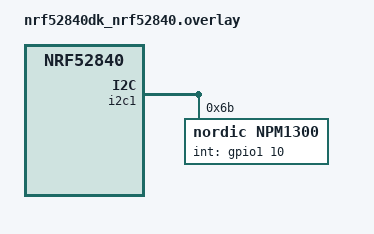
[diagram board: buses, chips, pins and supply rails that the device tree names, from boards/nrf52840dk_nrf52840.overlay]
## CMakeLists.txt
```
# SPDX-License-Identifier: Apache-2.0

cmake_minimum_required(VERSION 3.20.0)
find_package(Zephyr REQUIRED HINTS $ENV{ZEPHYR_BASE})
project(pmic_charger)

FILE(GLOB app_sources src/*.c)
target_include_directories(app PRIVATE include/)
target_sources(app PRIVATE ${app_sources})
```

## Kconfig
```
#Copyright (c) 2022 Nordic Semiconductor ASA
#SPDX-License-Identifier: Apache-2.0

mainmenu "PMIC example: Charger and events"

config BATTERY_VOLTAGE_THRESHOLD_1
	int "Battery voltage threshold 1 [mV]"
	range 0 4500
	default 3590
	help
	  Voltage threshold 1 to be detected.
	  Threshold 1 should have a higher value than threshold 2.

config BATTERY_VOLTAGE_THRESHOLD_2
	int "Battery voltage threshold 2 [mV]"
	range 0 4500
	default 3540
	help
	  Voltage threshold 2 to be detected.
	  Threshold 1 should have a higher value than threshold 2.

config CHARGING_CURRENT
	int "Charging current [mA]"
	range 32 800
	default 200

choice
	prompt "Termination voltage"
	default TERM_3600

	config TERM_3500
		bool "3.50 V"
	config TERM_3550
		bool "3.55 V"
	config TERM_3600
		bool "3.60 V"
	config TERM_3650
		bool "3.65 V"
	config TERM_4000
		bool "4.00 V"
	config TERM_4050
		bool "4.05 V"
	config TERM_4100
		bool "4.10 V"
	config TERM_4150
		bool "4.15 V"
	config TERM_4200
		bool "4.20 V"
	config TERM_4250
		bool "4.25 V"
	config TERM_4300
		bool "4.30 V"
	config TERM_4350
		bool "4.35 V"
	config TERM_4400
		bool "4.40 V"
	config TERM_4450
		bool "4.45 V"
endchoice

config TERMINATION_VOLTAGE
	int
	default 3500 if TERM_3500
	default 3550 if TERM_3550
	default 3600 if TERM_3600
	default 3650 if TERM_3650
	default 4000 if TERM_4000
	default 4050 if TERM_4050
	default 4100 if TERM_4100
	default 4150 if TERM_4150
	default 4200 if TERM_4200
	default 4250 if TERM_4250
	default 4300 if TERM_4300
	default 4350 if TERM_4350
	default 4400 if TERM_4400
	default 4450 if TERM_4450

source "Kconfig.zephyr"
```

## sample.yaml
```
sample:
  description: Sample for nPM1300 PMIC Charger and events
  name: nPM1300 PMIC Charger and events

common:
    integration_platforms:
      - nrf5340dk_nrf5340_cpuapp
    platform_allow: nrf5340dk_nrf5340_cpuapp
    extra_args: DTC_OVERLAY_FILE=boards/nrf5340dk_nrf5340_cpuapp.overlay
    tags: pmic

tests:
  sample.pmic.charger_and_events:
    harness: console
    harness_config:
      fixture: nPM1300_with_battery_setup
      type: multi_line
      ordered: true
      regex:
        -  "PMIC device ok"
```

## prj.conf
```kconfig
CONFIG_I2C=y
CONFIG_GPIO=y
CONFIG_NPMX_ENABLE=y
CONFIG_NPMX_DEVICE_NPM1300_FP1=y
CONFIG_LOG=y
CONFIG_LOG_BACKEND_RTT=y
CONFIG_SERIAL=n
CONFIG_NPMX_LOG_LEVEL_INF=y
CONFIG_ASSERT=y

# Bluetooth configuration
CONFIG_BT=y
CONFIG_BT_PERIPHERAL=y
CONFIG_BT_DEVICE_NAME="Nordic Charger Demo"
CONFIG_BT_DEVICE_APPEARANCE=833
CONFIG_BT_MAX_CONN=1
CONFIG_BT_MAX_PAIRED=1
CONFIG_BT_BUF_ACL_RX_SIZE=251
CONFIG_BT_ATT_PREPARE_COUNT=2
CONFIG_BT_L2CAP_TX_MTU=498
CONFIG_BT_BUF_ACL_TX_COUNT=10
CONFIG_BT_BUF_ACL_TX_SIZE=251
CONFIG_BT_CTLR_DATA_LENGTH_MAX=251
CONFIG_BT_CTLR_RX_BUFFERS=2
CONFIG_BT_USER_DATA_LEN_UPDATE=y
CONFIG_BT_USER_PHY_UPDATE=y
CONFIG_BT_GATT_CLIENT=y

# Enable the NUS service
CONFIG_BT_NUS=y
```

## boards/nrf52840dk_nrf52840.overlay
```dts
&i2c1 {
	compatible = "nordic,nrf-twim";
	status = "okay";

	npm_0: npm1300@6b {
		status = "okay";
		compatible = "nordic,npm1300";
		label = "npm1300";
		reg = <0x6b>;
		int-gpios = <&gpio1 10 (GPIO_PULL_DOWN | GPIO_ACTIVE_HIGH)>;
	};
};

&pinctrl {
	i2c1_default: i2c1_default {
		group1 {
			psels = <NRF_PSEL(TWIM_SDA, 0, 30)>,
				<NRF_PSEL(TWIM_SCL, 0, 31)>;
			//bias-pull-up;
		};
	};

	i2c1_sleep: i2c1_sleep {
		group1 {
			psels = <NRF_PSEL(TWIM_SDA, 0, 30)>,
				<NRF_PSEL(TWIM_SCL, 0, 31)>;
			low-power-enable;
			//bias-pull-up;
		};
	};
};
```

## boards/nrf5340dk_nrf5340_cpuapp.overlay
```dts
&i2c1 {
	compatible = "nordic,nrf-twim";
	status = "okay";

	npm_0: npm1300@6b {
		status = "okay";
		compatible = "nordic,npm1300";
		label = "npm1300";
		reg = <0x6b>;
		int-gpios = <&gpio1 10 (GPIO_PULL_DOWN | GPIO_ACTIVE_HIGH)>;
	};
};
```

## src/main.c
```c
/*
 * Copyright (c) 2022 Nordic Semiconductor ASA
 *
 * SPDX-License-Identifier: Apache-2.0
 */

/*************************************************************/
/* API is not stable and maturity level of SW is evaluation. */
/*************************************************************/

#include <errno.h>
#include <device.h>
#include <zephyr.h>
#include <stdio.h>
#include <app_led.h>
#include <app_pmic.h>
#include <app_bluetooth.h>
#include <zephyr/sys/reboot.h>

#include <zephyr/logging/log.h>

#define LOG_MODULE_NAME main
LOG_MODULE_REGISTER(LOG_MODULE_NAME);

#define APP_BT_CMD_READ_BAT_VOLTAGE "Rbv"
#define APP_BT_CMD_RESET			"Reset"
#define APP_BT_CMD_SET_BUCK_VTG		"Setv"
#define IS_APP_BT_CMD(a, b) (strncmp(a, b, strlen(b)) == 0)

void bt_printf(const char *str, ...)
{
	static uint8_t tmpstring[NUS_STRING_LEN_MAX];

    va_list myargs;
    va_start(myargs, str);
	vsprintf(tmpstring, str, myargs);
    va_end(myargs);

	if (app_bt_send(tmpstring, strlen(tmpstring)) < 0) {
		LOG_ERR("Unable to send data to the NUS service");
	}
}

void pmic_callback(app_pmic_evt_t *evt)
{
	bt_printf("PMIC Evt: %s", pmic_state_name_strings[evt->type]);
}

void process_incoming_nus_data(app_bt_evt_t *bt_evt)
{
	if (IS_APP_BT_CMD(bt_evt->buf, APP_BT_CMD_READ_BAT_VOLTAGE)) {
		LOG_INF("Read battery voltage BT command received");
		uint16_t bat_voltage = app_pmic_get_battery_voltage();
		bt_printf("Battery voltage: %i mV", bat_voltage);
	} else if (IS_APP_BT_CMD(bt_evt->buf, APP_BT_CMD_SET_BUCK_VTG)) {
		int decivolt = (bt_evt->buf[strlen(APP_BT_CMD_SET_BUCK_VTG)] - '0') * 10 +
					   (bt_evt->buf[strlen(APP_BT_CMD_SET_BUCK_VTG) + 1] - '0');
		LOG_INF("Attempting to set buck out to %i decivolt", decivolt);
		app_pmic_set_buck_out_voltage(decivolt);
	} else if (IS_APP_BT_CMD(bt_evt->buf, APP_BT_CMD_RESET)) {
		LOG_INF("Resetting....");
		k_msleep(50);
		sys_reboot(SYS_REBOOT_WARM);
	}
}

void bluetooth_callback(app_bt_evt_t *bt_evt)
{
	switch(bt_evt->type) {
		case APP_BT_EVT_CONNECTED:
			bt_printf("Hello mister");
			break;
		case APP_BT_EVT_DISCONNECTED:
			break;
		case APP_BT_EVT_NUS_DATA_RECEIVED:
			process_incoming_nus_data(bt_evt);
			break;
	}
}

void main(void)
{
	int ret;
	
	ret = app_led_init();
	if (ret < 0) return;

	ret = app_pmic_init(pmic_callback);
	if(ret == 0) app_led_on(APP_LED_PMIC);
	else app_led_off(APP_LED_PMIC);
	
	ret = app_bt_init(bluetooth_callback);
	if (ret < 0) {
		LOG_ERR("Failed to initialize Bluetooth: %i", ret);
		return;
	}

	LOG_INF("Battery pack demo started");

	while (1) {
		app_led_toggle(APP_LED_STATUS);
		k_msleep(100);
	}
}
```

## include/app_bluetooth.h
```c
#ifndef __APP_BLUETOOTH_H
#define __APP_BLUETOOTH_H

#include <zephyr.h>

#define NUS_STRING_LEN_MAX 		128
#define BT_TX_MSG_COUNT			8
#define BT_TX_THREAD_STACKSIZE	1024
#define BT_TX_THREAD_PRIORITY	5

typedef enum {APP_BT_EVT_CONNECTED, APP_BT_EVT_DISCONNECTED, APP_BT_EVT_NUS_DATA_RECEIVED} app_bt_evt_type_t;

typedef struct {
	int type;
	const uint8_t *buf;
	uint16_t length;
} app_bt_evt_t;

typedef void (*app_bt_callback_t)(app_bt_evt_t *bt_evt);

int app_bt_init(app_bt_callback_t callback);

int app_bt_send(uint8_t *data_ptr, uint16_t length);

#endif
```

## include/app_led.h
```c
#ifndef __APP_LED_H
#define __APP_LED_H

#include <zephyr.h>

#define APP_LED_STATUS 	0
#define APP_LED_PMIC 	1
#define APP_LED_BT		2

int app_led_init(void);

int app_led_on(int led_index);

int app_led_off(int led_index);

int app_led_toggle(int led_index);

#endif
```

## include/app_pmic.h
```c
#ifndef __APP_PMIC_H
#define __APP_PMIC_H

#include <zephyr.h>

#define APP_PMIC_BATTERY_VOLTAGE_INVALID 0xFFFF

typedef struct {
	int type;
} app_pmic_evt_t;

extern const char *pmic_state_name_strings[];

typedef void (*app_pmic_callback_t)(app_pmic_evt_t *evt);

int app_pmic_init(app_pmic_callback_t callback);

uint16_t app_pmic_get_battery_voltage(void);

int app_pmic_buck_out_enable(bool enable);

int app_pmic_set_buck_out_voltage(int decivolt);

#endif
```

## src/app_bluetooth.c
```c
#include <app_bluetooth.h>
#include <zephyr/bluetooth/bluetooth.h>
#include <zephyr/bluetooth/uuid.h>
#include <zephyr/bluetooth/conn.h>
#include <zephyr/bluetooth/gatt.h>
#include <zephyr/bluetooth/hci.h>

#include <bluetooth/services/nus.h>

#include <zephyr/logging/log.h>

#define LOG_MODULE_NAME app_bt
LOG_MODULE_REGISTER(LOG_MODULE_NAME);

#define DEVICE_NAME CONFIG_BT_DEVICE_NAME
#define DEVICE_NAME_LEN	(sizeof(DEVICE_NAME) - 1)

static const struct bt_data ad[] = {
	BT_DATA_BYTES(BT_DATA_FLAGS, (BT_LE_AD_GENERAL | BT_LE_AD_NO_BREDR)),
	BT_DATA(BT_DATA_NAME_COMPLETE, DEVICE_NAME, DEVICE_NAME_LEN),
};

static const struct bt_data sd[] = {
	BT_DATA_BYTES(BT_DATA_UUID128_ALL, BT_UUID_NUS_VAL),
};

static app_bt_callback_t m_app_callback;

static struct bt_conn *default_conn;
static struct bt_gatt_exchange_params exchange_params;

struct nus_message_type_t {
	uint16_t length;
	uint8_t buf[NUS_STRING_LEN_MAX];
};

K_MSGQ_DEFINE(m_msgq_nus_tx, sizeof(struct nus_message_type_t), BT_TX_MSG_COUNT, 4);

static void bt_exchange_func(struct bt_conn *conn, uint8_t att_err,
			  struct bt_gatt_exchange_params *params)
{
	struct bt_conn_info info = {0};
	int err;

	LOG_INF("MTU exchange %s", att_err == 0 ? "successful" : "failed");

	err = bt_conn_get_info(conn, &info);
	if (err) {
		LOG_INF("Failed to get connection info %d", err);
		return;
	}
}

static void bt_connected_cb(struct bt_conn *conn, uint8_t err)
{
	static app_bt_evt_t con_event;

	if (err) {
		LOG_ERR("Connection failed (err 0x%02x)", err);
		return;
	} 

	LOG_INF("Connected");

	default_conn = conn;

	con_event.type = APP_BT_EVT_CONNECTED;
	m_app_callback(&con_event);

	exchange_params.func = bt_exchange_func;

	err = bt_gatt_exchange_mtu(default_conn, &exchange_params);
	if (err) {
		LOG_INF("MTU exchange failed (err %d)", err);
	} else {
		LOG_INF("MTU exchange pending");
	}
}

static void bt_disconnected_cb(struct bt_conn *conn, uint8_t reason)
{
	static app_bt_evt_t discon_event;

	LOG_INF("Disconnected (reason 0x%02x)", reason);
	default_conn = 0;
	
	discon_event.type = APP_BT_EVT_DISCONNECTED;
	m_app_callback(&discon_event);
}

BT_CONN_CB_DEFINE(conn_callbacks) = {
	.connected = bt_connected_cb,
	.disconnected = bt_disconnected_cb,
};

static void bt_receive_cb(struct bt_conn *conn, const uint8_t *const data, uint16_t len)
{
	static app_bt_evt_t receive_event;

	LOG_INF("Bluetooth data received");

	receive_event.type = APP_BT_EVT_NUS_DATA_RECEIVED;
	receive_event.buf = data;
	receive_event.length = len;
	m_app_callback(&receive_event);
}

static struct bt_nus_cb nus_cb = {
	.received = bt_receive_cb,
};

int app_bt_init(app_bt_callback_t callback)
{
	int ret;

	ret = bt_enable(NULL);
	if (ret < 0) return ret;

	m_app_callback = callback;

	LOG_INF("Bluetooth initialized");

	ret = bt_nus_init(&nus_cb);
	if (ret < 0) {
		LOG_ERR("Failed to initialize UART service (err: %d)", ret);
		return ret;
	}

	ret = bt_le_adv_start(BT_LE_ADV_CONN, ad, ARRAY_SIZE(ad), sd, ARRAY_SIZE(sd));
	if (ret < 0) {
		LOG_ERR("Advertising failed to start (err %d)", ret);
		return ret;
	}

	return 0;
}

int app_bt_send(uint8_t *data_ptr, uint16_t length)
{
	struct nus_message_type_t new_message;

	new_message.length = length;
	memcpy(new_message.buf, data_ptr, length);

	if (k_msgq_put(&m_msgq_nus_tx, (void *)&new_message, K_NO_WAIT) != 0) {
		return -ENOMEM;
	}

	return 0;
}

static void bt_tx_thread_func(void)
{
	struct nus_message_type_t new_message;

	while(1) {
		k_msgq_get(&m_msgq_nus_tx, (void *)&new_message, K_FOREVER);

		bt_nus_send(0, new_message.buf, new_message.length);
	}
}

K_THREAD_DEFINE(m_bt_tx_thread, BT_TX_THREAD_STACKSIZE, bt_tx_thread_func,
				NULL, NULL, NULL, BT_TX_THREAD_PRIORITY, 0, 0);
```

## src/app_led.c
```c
#include <app_led.h>
#include <zephyr/drivers/gpio.h>

static const struct gpio_dt_spec m_app_led[] = {GPIO_DT_SPEC_GET(DT_ALIAS(led0), gpios),
											  GPIO_DT_SPEC_GET(DT_ALIAS(led1), gpios)};
#define APP_LED_NUM_LEDS (sizeof(m_app_led) / sizeof(m_app_led[0]))

int app_led_init(void)
{
	int ret;
	for(int i = 0; i < APP_LED_NUM_LEDS; i++) {
		ret = gpio_pin_configure_dt(&m_app_led[i], GPIO_OUTPUT_ACTIVE);
		if (ret < 0) {
			return ret;
		}
	}

	return 0;
}

int app_led_on(int led_index)
{
	if(led_index >= APP_LED_NUM_LEDS) return -EINVAL;
	return gpio_pin_set_dt(&m_app_led[led_index], 1);
}

int app_led_off(int led_index)
{
	if(led_index >= APP_LED_NUM_LEDS) return -EINVAL;
	return gpio_pin_set_dt(&m_app_led[led_index], 1);
}

int app_led_toggle(int led_index)
{
	if(led_index >= APP_LED_NUM_LEDS) return -EINVAL;
	return gpio_pin_toggle_dt(&m_app_led[led_index]);
}
```

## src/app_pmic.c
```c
#include <app_pmic.h>
#include <npmx_driver.h>
#include <npmx_gpio.h>
#include <npmx_core.h>
#include <npmx_charger.h>
#include <npmx_adc.h>
#include <npmx_errlog.h>
#include <zephyr/logging/log.h>

#define LOG_MODULE_NAME pmic_charger
LOG_MODULE_REGISTER(LOG_MODULE_NAME);

static app_pmic_callback_t m_callback;

static npmx_buck_t *m_bucks[2];
#define BUCK_OUT 0		// This buck converter can be used to power external devices, connected to the TBD connector
#define BUCK_SYSTEM 1	// This buck converter is used to power the nRF52 device

static uint16_t m_battery_voltage_mv = 0;

/** @brief Possible events from requested nPM device. */
typedef enum {
	APP_CHARGER_EVENT_BATTERY_DETECTED, /** Event registered when battery connection detected. */
	APP_CHARGER_EVENT_BATTERY_REMOVED, /** Event registered when battery connection removed. */
	APP_CHARGER_EVENT_VBUS_DETECTED, /** Event registered when VBUS connection detected. */
	APP_CHARGER_EVENT_VBUS_REMOVED, /** Event registered when VBSU connection removed. */
	APP_CHARGER_EVENT_CHARGING_TRICKE_STARTED, /** Event registered when trickle charging started. */
	APP_CHARGER_EVENT_CHARGING_CC_STARTED, /** Event registered when constant current charging started. */
	APP_CHARGER_EVENT_CHARGING_CV_STARTED, /** Event registered when constant voltage charging started. */
	APP_CHARGER_EVENT_CHARGING_COMPLETED, /** Event registered when charging completed. */
	APP_CHARGER_EVENT_BATTERY_LOW_ALERT1, /** Event registered when first low battery voltage alert detected. */
	APP_CHARGER_EVENT_BATTERY_LOW_ALERT2, /** Event registered when second low battery voltage alert detected. */
} npm1300_charger_event_t;

const char *pmic_state_name_strings[] =  {"Battery Detected", 
									"Battery Removed", 
									"VBUS Detected", 
									"VBUS Removed", 
									"Charging Trickle Started", 
									"Charging CC Started", 
									"Charging CV Started", 
									"Charging Completed", 
									"Bat Low Alert 1", 
									"Bat Low Alert 2"};

/**
 * @brief Register the new event received from nPM device.
 *
 * @param[in] event New event type.
 */
static void register_state_change(npm1300_charger_event_t event)
{
	static app_pmic_evt_t app_event;
	switch(event) {
		case APP_CHARGER_EVENT_BATTERY_DETECTED:
			LOG_INF("0 APP_CHARGER_EVENT_BATTERY_DETECTED");
			break;
		case APP_CHARGER_EVENT_BATTERY_REMOVED:
			LOG_INF("1 APP_CHARGER_EVENT_BATTERY_REMOVED");
			break;
		case APP_CHARGER_EVENT_VBUS_DETECTED: 
			LOG_INF("2 APP_CHARGER_EVENT_VBUS_DETECTED");
			break;
		case APP_CHARGER_EVENT_VBUS_REMOVED: 
			LOG_INF("3 APP_CHARGER_EVENT_VBUS_REMOVED");
			break;
		case APP_CHARGER_EVENT_CHARGING_TRICKE_STARTED: 
			LOG_INF("4 APP_CHARGER_EVENT_CHARGING_TRICKE_STARTED");
			break; 
		case APP_CHARGER_EVENT_CHARGING_CC_STARTED:
			LOG_INF("5 APP_CHARGER_EVENT_CHARGING_CC_STARTED");
			break;
		case APP_CHARGER_EVENT_CHARGING_CV_STARTED:
			LOG_INF("6 APP_CHARGER_EVENT_CHARGING_CV_STARTED");
			break;
		case APP_CHARGER_EVENT_CHARGING_COMPLETED:
			LOG_INF("7 APP_CHARGER_EVENT_CHARGING_COMPLETED");
			break;
		case APP_CHARGER_EVENT_BATTERY_LOW_ALERT1:
			LOG_INF("8 APP_CHARGER_EVENT_BATTERY_LOW_ALERT1");
			break;
		case APP_CHARGER_EVENT_BATTERY_LOW_ALERT2:
		default:
			LOG_INF("event %i", event);
			break;
	}
	app_event.type = event;
	m_callback(&app_event);
}

/**
 * @brief Function for setting the buck output voltage for the specified buck instance.
 *
 * @param[in] p_buck  Pointer to the instance of buck.
 * @param[in] voltage Selected voltage.
 */
static void set_buck_voltage(npmx_buck_t *p_buck, npmx_buck_voltage_t voltage)
{
	/* Set the output voltage. */
	if (npmx_buck_normal_voltage_set(p_buck, voltage) != NPMX_SUCCESS) {
		LOG_ERR("Unable to set normal voltage");
	}

	/* Have to be called each time to change output voltage. */
	if (npmx_buck_vout_select_set(p_buck, NPMX_BUCK_VOUT_SELECT_SOFTWARE) != NPMX_SUCCESS) {
		LOG_ERR("Unable to select vout reference");
	}
}

/**
 * @brief Function callback for vbusin events.
 *
 * @param[in] p_pm The pointer to the instance of nPM device.
 * @param[in] type The type of callback, should be always NPMX_CALLBACK_TYPE_EVENT_VBUSIN_VOLTAGE.
 * @param[in] mask Received event mask @ref npmx_event_group_vbusin_mask_t .
 */
static void vbusin_callback(npmx_instance_t *p_pm, npmx_callback_type_t type, uint8_t mask)
{
	if (mask & (uint8_t)NPMX_EVENT_GROUP_VBUSIN_DETECTED_MASK) {
		register_state_change(APP_CHARGER_EVENT_VBUS_DETECTED);
	}
	else if (mask & (uint8_t)NPMX_EVENT_GROUP_VBUSIN_REMOVED_MASK) {
		register_state_change(APP_CHARGER_EVENT_VBUS_REMOVED);
	}
	else LOG_WRN("Unhandled vbusin callback reveived!");
}

/**
 * @brief Function callback for adc events.
 *
 * @param[in] p_pm The pointer to the instance of nPM device.
 * @param[in] type The type of callback, should be always NPMX_CALLBACK_TYPE_EVENT_VBUSIN_VOLTAGE.
 * @param[in] mask Received event mask @ref npmx_event_group_vbusin_mask_t.
 */
static void adc_callback(npmx_instance_t *p_pm, npmx_callback_type_t type, uint8_t mask)
{
	if ((mask & (uint8_t)NPMX_EVENT_GROUP_ADC_BAT_READY_MASK)) {
		static uint16_t battery_voltage_millivolts_last = 0;
		if (npmx_adc_meas_get(npmx_adc_get(p_pm, 0), NPMX_ADC_MEAS_VBAT,
				      &m_battery_voltage_mv) == NPMX_SUCCESS) {
			if (m_battery_voltage_mv != battery_voltage_millivolts_last) {
				battery_voltage_millivolts_last = m_battery_voltage_mv;
				LOG_INF("Battery:\t %d mV", m_battery_voltage_mv);
			}
			if (m_battery_voltage_mv < CONFIG_BATTERY_VOLTAGE_THRESHOLD_2) {
				register_state_change(APP_CHARGER_EVENT_BATTERY_LOW_ALERT2);
			} else if (m_battery_voltage_mv <
				   CONFIG_BATTERY_VOLTAGE_THRESHOLD_1) {
				register_state_change(APP_CHARGER_EVENT_BATTERY_LOW_ALERT1);
			}
		}
	}
}

/**
 * @brief Function callback for charger status events.
 *
 * @param[in] p_pm Pointer to the instance of nPM device.
 * @param[in] type Type of callback, should be always NPMX_CALLBACK_TYPE_EVENT_BAT_CHAR_STATUS.
 * @param[in] mask Received event mask @ref npmx_event_group_charger_mask_t .
 */
static void charger_status_callback(npmx_instance_t *p_pm, npmx_callback_type_t type, uint8_t mask)
{
	npmx_charger_t *charger_instance = npmx_charger_get(p_pm, 0);

	if (mask & (uint8_t)NPMX_EVENT_GROUP_CHARGER_ERROR_MASK) {
		/* Check charger errors and run default debug callbacks to log error bits. */
		npmx_charger_errors_check(charger_instance);
	}

	npmx_charger_status_mask_t status;

	/* Delay required for status stabilization. */
	k_msleep(5);

	if (npmx_charger_status_get(charger_instance, &status) == NPMX_SUCCESS) {
		if (status & NPMX_CHARGER_STATUS_TRICKLE_CHARGE_MASK) {
			register_state_change(APP_CHARGER_EVENT_CHARGING_TRICKE_STARTED);
		}
		else if (status & NPMX_CHARGER_STATUS_CONSTANT_CURRENT_MASK) {
			register_state_change(APP_CHARGER_EVENT_CHARGING_CC_STARTED);
		}
		else if (status & NPMX_CHARGER_STATUS_CONSTANT_VOLTAGE_MASK) {
			register_state_change(APP_CHARGER_EVENT_CHARGING_CV_STARTED);
		}
		else if (status & NPMX_CHARGER_STATUS_COMPLETED_MASK) {
			register_state_change(APP_CHARGER_EVENT_CHARGING_COMPLETED);
		}
		else LOG_WRN("Unhandled charger status received!!");
	}
}

/**
 * @brief Function callback for battery events.
 *
 * @param[in] p_pm The pointer to the instance of nPM device.
 * @param[in] type The type of callback, should be always NPMX_CALLBACK_TYPE_EVENT_BAT_CHAR_BAT.
 * @param[in] mask Received event mask @ref npmx_event_group_battery_mask_t .
 */
static void charger_battery_callback(npmx_instance_t *p_pm, npmx_callback_type_t type, uint8_t mask)
{
	if (mask & (uint8_t)NPMX_EVENT_GROUP_BATTERY_DETECTED_MASK) {
		register_state_change(APP_CHARGER_EVENT_BATTERY_DETECTED);
	}

	if (mask & (uint8_t)NPMX_EVENT_GROUP_BATTERY_REMOVED_MASK) {
		register_state_change(APP_CHARGER_EVENT_BATTERY_REMOVED);
	}
}

/**
 * @brief Function for returning charger voltage enum associated with given voltage.
 *
 * @param[in] mv Voltage to be translated.
 *
 * @return Charger voltage enum.
 */
static npmx_charger_voltage_t mv_to_charger_voltage_enum(uint32_t mv)
{
	switch (mv) {
	case 3500:
		return NPMX_CHARGER_VOLTAGE_3V50;
	case 3550:
		return NPMX_CHARGER_VOLTAGE_3V55;
	case 3600:
		return NPMX_CHARGER_VOLTAGE_3V60;
	case 3650:
		return NPMX_CHARGER_VOLTAGE_3V65;
	case 4000:
		return NPMX_CHARGER_VOLTAGE_4V00;
	case 4050:
		return NPMX_CHARGER_VOLTAGE_4V05;
	case 4100:
		return NPMX_CHARGER_VOLTAGE_4V10;
	case 4150:
		return NPMX_CHARGER_VOLTAGE_4V15;
	case 4200:
		return NPMX_CHARGER_VOLTAGE_4V20;
	case 4250:
		return NPMX_CHARGER_VOLTAGE_4V25;
	case 4300:
		return NPMX_CHARGER_VOLTAGE_4V30;
	case 4350:
		return NPMX_CHARGER_VOLTAGE_4V35;
	case 4400:
		return NPMX_CHARGER_VOLTAGE_4V40;
	case 4450:
		return NPMX_CHARGER_VOLTAGE_4V45;
	default:
		__ASSERT(false, "Invalid mV value to translate into charger enum");
		return NPMX_CHARGER_VOLTAGE_DEFAULT;
	}
}

int app_pmic_init(app_pmic_callback_t callback)
{
	const struct device *pmic_dev = DEVICE_DT_GET(DT_NODELABEL(npm_0));

	if (!device_is_ready(pmic_dev)) {
		LOG_INF("PMIC device is not ready");
		return -1;
	} else {
		LOG_INF("PMIC device ok");
	}

	m_callback = callback;

	/* Get pointer to npmx device. */
	npmx_instance_t *npmx_instance = &((struct npmx_data *)pmic_dev->data)->npmx_instance;

	/* Get a pointer to the two buck devices */
	m_bucks[0] = npmx_buck_get(npmx_instance, 0);
	m_bucks[1] = npmx_buck_get(npmx_instance, 1);

	/* Get pointer to GPIO 0 instance. */
	npmx_gpio_t *gpio_0 = npmx_gpio_get(npmx_instance, 0);

	/* Get pointer to CHARGER instance. */
	npmx_charger_t *charger_instance = npmx_charger_get(npmx_instance, 0);

	/* Register callback for vbus events. */
	npmx_core_register_cb(npmx_instance, vbusin_callback,
			      NPMX_CALLBACK_TYPE_EVENT_VBUSIN_VOLTAGE);

	/* Register callback for adc events. */
	npmx_core_register_cb(npmx_instance, adc_callback, NPMX_CALLBACK_TYPE_EVENT_ADC);

	/* Register callback for battery events. */
	npmx_core_register_cb(npmx_instance, charger_battery_callback,
			      NPMX_CALLBACK_TYPE_EVENT_BAT_CHAR_BAT);

	/* Register callback for charger status events. */
	npmx_core_register_cb(npmx_instance, charger_status_callback,
			      NPMX_CALLBACK_TYPE_EVENT_BAT_CHAR_STATUS);

	/* Check reset errors and run default debug callbacks to log error bits. */
	npmx_errlog_reset_errors_check(npmx_errlog_get(npmx_instance, 0));

	/* Use GPIO 0 as interrupt output. */
	npmx_gpio_mode_set(gpio_0, NPMX_GPIO_MODE_OUTPUT_IRQ);

	/* Disable charger before changing charge current */
	npmx_charger_module_disable_set(charger_instance, NPMX_CHARGER_MODULE_CHARGER_MASK);

	/* Set charging current. */
	npmx_charger_charging_current_set(charger_instance, CONFIG_CHARGING_CURRENT);

	/* Set battery termination voltage. */
	npmx_charger_termination_voltage_normal_set(
		charger_instance, mv_to_charger_voltage_enum(CONFIG_TERMINATION_VOLTAGE));

	/* Enable charger for events handling. */
	npmx_charger_module_enable_set(charger_instance,
				       NPMX_CHARGER_MODULE_CHARGER_MASK |
					       NPMX_CHARGER_MODULE_RECHARGE_MASK |
					       NPMX_CHARGER_MODULE_NTC_LIMITS_MASK);

	/* Enable USB connections interrupts and events handling. */
	npmx_core_event_interrupt_enable(npmx_instance, NPMX_EVENT_GROUP_VBUSIN_VOLTAGE,
					 NPMX_EVENT_GROUP_VBUSIN_DETECTED_MASK |
						 NPMX_EVENT_GROUP_VBUSIN_REMOVED_MASK);

	/* Enable all charging status interrupts and events. */
	npmx_core_event_interrupt_enable(
		npmx_instance, NPMX_EVENT_GROUP_BAT_CHAR_STATUS,
		NPMX_EVENT_GROUP_CHARGER_SUPPLEMENT_MASK | NPMX_EVENT_GROUP_CHARGER_TRICKLE_MASK |
			NPMX_EVENT_GROUP_CHARGER_CC_MASK | NPMX_EVENT_GROUP_CHARGER_CV_MASK |
			NPMX_EVENT_GROUP_CHARGER_COMPLETED_MASK |
			NPMX_EVENT_GROUP_CHARGER_ERROR_MASK);

	/* Enable battery interrupts and events. */
	npmx_core_event_interrupt_enable(npmx_instance, NPMX_EVENT_GROUP_BAT_CHAR_BAT,
					 NPMX_EVENT_GROUP_BATTERY_DETECTED_MASK |
						 NPMX_EVENT_GROUP_BATTERY_REMOVED_MASK);

	/* Enable ADC measurements ready interrupts. */
	npmx_core_event_interrupt_enable(npmx_instance, NPMX_EVENT_GROUP_ADC,
					 NPMX_EVENT_GROUP_ADC_BAT_READY_MASK);

	/* Set NTC type for ADC measurements. */
	npmx_adc_ntc_set(npmx_adc_get(npmx_instance, 0), NPMX_ADC_BATTERY_NTC_TYPE_10_K);

	/* Enable ADC auto measurements every ~1s (default)*/
	npmx_adc_config_t config = {
		.vbat_auto = true,
		.vbat_burst = false
	};

	npmx_adc_config_set(npmx_adc_get(npmx_instance, 0), &config);

	return 0;
}

uint16_t app_pmic_get_battery_voltage(void)
{
	return m_battery_voltage_mv;
}

int app_pmic_buck_out_enable(bool enable)
{
	return 0;
}

int app_pmic_set_buck_out_voltage(int decivolt)
{
	if(decivolt < 10 || decivolt > 33) return -EINVAL;
	set_buck_voltage(m_bucks[BUCK_OUT], (npmx_buck_voltage_t)(decivolt-10));
	return 0;
}
```
